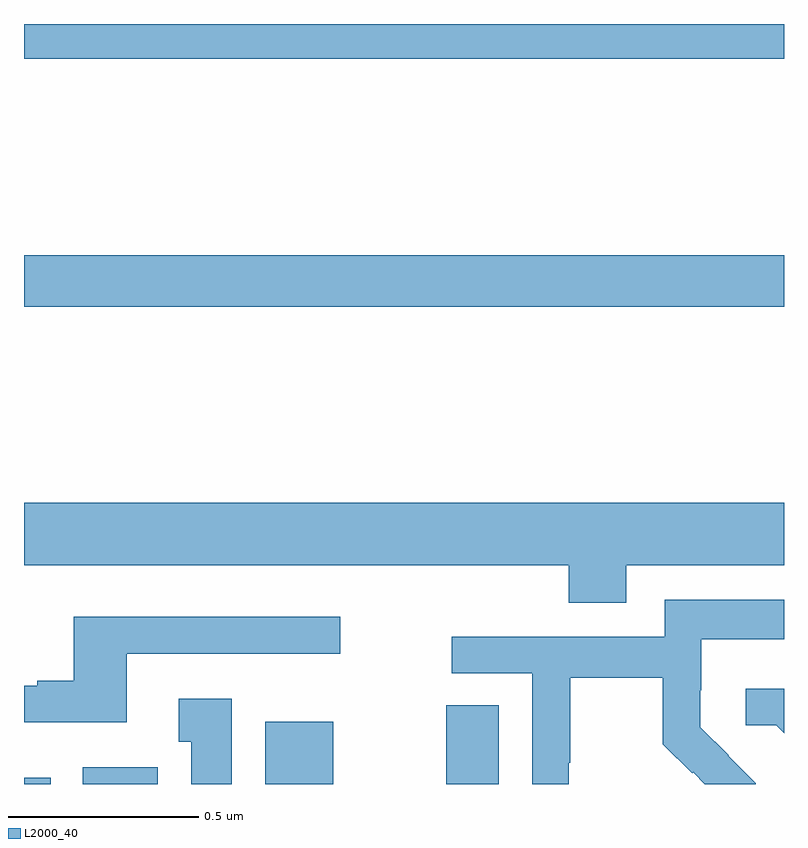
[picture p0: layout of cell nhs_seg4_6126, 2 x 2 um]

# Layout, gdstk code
import gdstk
lib = gdstk.Library(unit=1e-6, precision=1e-09)
def R(c, l, rs):  # rectangles x0, y0, x1, y1
    for r in rs: c.add(gdstk.rectangle(r[:2], r[2:], *l))
def P(c, l, *ps):  # polygons
    for p in ps: c.add(gdstk.Polygon(p, *l))
L2000_40 = (2000, 40)

nhs_seg4_6126 = lib.new_cell('nhs_seg4_6126')
R(nhs_seg4_6126, L2000_40, [(186,806.9,186.07,806.917), (186.155,806.9,186.352,806.944), (186.635,806.9,186.814,807.064), (187.111,806.9,187.249,807.107), (186,808.156,188,808.292), (186,808.808,188,808.9)])
P(nhs_seg4_6126, L2000_40, [(187.585,807.476),(188,807.476),(188,807.64),(186,807.64),(186,807.476),(187.433,807.476),(187.433,807.377),(187.585,807.377)],
  [(187.434,806.956),(187.437,806.956),(187.437,807.18),(187.681,807.18),(187.681,807.005),(187.758,806.928),(187.761,806.931),(187.792,806.9),(187.926,806.9),(187.926,806.902),(187.853,806.975),(187.854,806.976),(187.78,807.05),(187.78,807.147),(187.782,807.147),(187.782,807.281),(188,807.281),(188,807.385),(187.686,807.385),(187.686,807.288),(187.125,807.288),(187.125,807.192),(187.338,807.192),(187.338,806.9),(187.434,806.9)],
  [(186.271,807.243),(186.832,807.243),(186.832,807.34),(186.131,807.34),(186.131,807.172),(186.035,807.172),(186.035,807.159),(186,807.159),(186,807.062),(186.271,807.062)],
  [(188,807.151),(187.899,807.151),(187.899,807.054),(187.98,807.054),(188,807.034)],
  [(186.547,807.124),(186.407,807.124),(186.407,807.011),(186.44,807.011),(186.44,806.9),(186.547,806.9)])

lib.write_gds('nhs_seg4_6126.gds')
